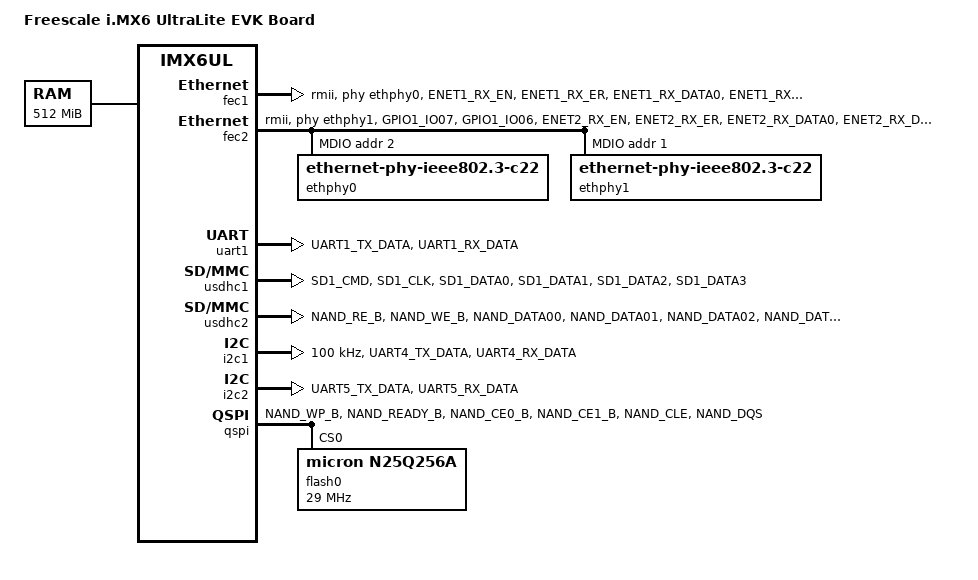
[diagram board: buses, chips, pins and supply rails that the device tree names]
/*
 * Copyright (C) 2015 Freescale Semiconductor, Inc.
 *
 * This program is free software; you can redistribute it and/or modify
 * it under the terms of the GNU General Public License version 2 as
 * published by the Free Software Foundation.
 */

/dts-v1/;

#include <dt-bindings/input/input.h>
#include "imx6ul.dtsi"

/ {
	model = "Freescale i.MX6 UltraLite EVK Board";
	compatible = "fsl,imx6ul-evk", "fsl,imx6ul";

	chosen {
		stdout-path = &uart1;
	};

	memory {
		reg = <0x80000000 0x20000000>;
	};
};

&fec1 {
	pinctrl-names = "default";
	pinctrl-0 = <&pinctrl_enet1>;
	phy-mode = "rmii";
	phy-handle = <&ethphy0>;
	status = "okay";
};

&fec2 {
	pinctrl-names = "default";
	pinctrl-0 = <&pinctrl_enet2>;
	phy-mode = "rmii";
	phy-handle = <&ethphy1>;
	status = "okay";

	mdio {
		#address-cells = <1>;
		#size-cells = <0>;

		ethphy0: ethernet-phy@2 {
			compatible = "ethernet-phy-ieee802.3-c22";
			reg = <2>;
		};

		ethphy1: ethernet-phy@1 {
			compatible = "ethernet-phy-ieee802.3-c22";
			reg = <1>;
		};
	};
};

&gpc {
	fsl,cpu_pupscr_sw2iso = <0x2>;
	fsl,cpu_pupscr_sw = <0x1>;
	fsl,cpu_pdnscr_iso2sw = <0x1>;
	fsl,cpu_pdnscr_iso = <0x1>;
	fsl,wdog-reset = <1>; /* watchdog select of reset source */
	fsl,ldo-bypass = <1>; /* use ldo-bypass, u-boot will check it and configure */
};

&uart1 {
	pinctrl-names = "default";
	pinctrl-0 = <&pinctrl_uart1>;
	status = "okay";
};

&usdhc1 {
	pinctrl-names = "default";
	pinctrl-0 = <&pinctrl_usdhc1>;
	cd_gpios = <&gpio1 19 0>;
	keep-power-in-suspend;
	enable-sdio-wakeup;
	status = "okay";
};

&usdhc2 {
	pinctrl-names = "default";
	pinctrl-0 = <&pinctrl_usdhc2>;
	no-1-8-v;
	keep-power-in-suspend;
	enable-sdio-wakeup;
	status = "okay";
};

&i2c1 {
	clock-frequency = <100000>;
	pinctrl-names = "default";
	pinctrl-0 = <&pinctrl_i2c1>;
	status = "okay";
};

&i2c2 {
	clock_frequency = <100000>;
	pinctrl-names = "default";
	pinctrl-0 = <&pinctrl_i2c2>;
	status = "okay";
};

&qspi {
	pinctrl-names = "default";
	pinctrl-0 = <&pinctrl_qspi>;
	status = "okay";
	ddrsmp=<0>;

	flash0: n25q256a@0 {
		#address-cells = <1>;
		#size-cells = <1>;
		compatible = "micron,n25q256a";
		spi-max-frequency = <29000000>;
		reg = <0>;
	};
};

&iomuxc {
	imx6ul-evk {
		pinctrl_enet1: enet1grp {
			fsl,pins = <
				MX6UL_PAD_ENET1_RX_EN__ENET1_RX_EN	0x1b0b0
				MX6UL_PAD_ENET1_RX_ER__ENET1_RX_ER	0x1b0b0
				MX6UL_PAD_ENET1_RX_DATA0__ENET1_RDATA00	0x1b0b0
				MX6UL_PAD_ENET1_RX_DATA1__ENET1_RDATA01	0x1b0b0
				MX6UL_PAD_ENET1_TX_EN__ENET1_TX_EN	0x1b0b0
				MX6UL_PAD_ENET1_TX_DATA0__ENET1_TDATA00	0x1b0b0
				MX6UL_PAD_ENET1_TX_DATA1__ENET1_TDATA01	0x1b0b0
				MX6UL_PAD_ENET1_TX_CLK__ENET1_REF_CLK1	0x4001b031
			>;
		};

		pinctrl_enet2: enet2grp {
			fsl,pins = <
				MX6UL_PAD_GPIO1_IO07__ENET2_MDC		0x1b0b0
				MX6UL_PAD_GPIO1_IO06__ENET2_MDIO	0x1b0b0
				MX6UL_PAD_ENET2_RX_EN__ENET2_RX_EN	0x1b0b0
				MX6UL_PAD_ENET2_RX_ER__ENET2_RX_ER	0x1b0b0
				MX6UL_PAD_ENET2_RX_DATA0__ENET2_RDATA00	0x1b0b0
				MX6UL_PAD_ENET2_RX_DATA1__ENET2_RDATA01	0x1b0b0
				MX6UL_PAD_ENET2_TX_EN__ENET2_TX_EN	0x1b0b0
				MX6UL_PAD_ENET2_TX_DATA0__ENET2_TDATA00	0x1b0b0
				MX6UL_PAD_ENET2_TX_DATA1__ENET2_TDATA01	0x1b0b0
				MX6UL_PAD_ENET2_TX_CLK__ENET2_REF_CLK2	0x4001b031
			>;
		};

		pinctrl_uart1: uart1grp {
			fsl,pins = <
				MX6UL_PAD_UART1_TX_DATA__UART1_DCE_TX 0x1b0b1
				MX6UL_PAD_UART1_RX_DATA__UART1_DCE_RX 0x1b0b1
			>;
		};

		pinctrl_usdhc1: usdhc1grp {
			fsl,pins = <
				MX6UL_PAD_SD1_CMD__USDHC1_CMD     0x17059
				MX6UL_PAD_SD1_CLK__USDHC1_CLK     0x10059
				MX6UL_PAD_SD1_DATA0__USDHC1_DATA0 0x17059
				MX6UL_PAD_SD1_DATA1__USDHC1_DATA1 0x17059
				MX6UL_PAD_SD1_DATA2__USDHC1_DATA2 0x17059
				MX6UL_PAD_SD1_DATA3__USDHC1_DATA3 0x17059
			>;
		};

		pinctrl_usdhc2: usdhc2grp {
			fsl,pins = <
				MX6UL_PAD_NAND_RE_B__USDHC2_CLK     0x17059
				MX6UL_PAD_NAND_WE_B__USDHC2_CMD     0x17059
				MX6UL_PAD_NAND_DATA00__USDHC2_DATA0 0x17059
				MX6UL_PAD_NAND_DATA01__USDHC2_DATA1 0x17059
				MX6UL_PAD_NAND_DATA02__USDHC2_DATA2 0x17059
				MX6UL_PAD_NAND_DATA03__USDHC2_DATA3 0x17059
			>;
		};

		pinctrl_i2c1: i2c1grp {
			fsl,pins = <
				MX6UL_PAD_UART4_TX_DATA__I2C1_SCL 0x4001b8b0
				MX6UL_PAD_UART4_RX_DATA__I2C1_SDA 0x4001b8b0
			>;
		};

		pinctrl_i2c2: i2c2grp {
			fsl,pins = <
				MX6UL_PAD_UART5_TX_DATA__I2C2_SCL 0x4001b8b0
				MX6UL_PAD_UART5_RX_DATA__I2C2_SDA 0x4001b8b0
			>;
		};

		pinctrl_qspi: qspigrp {
			fsl,pins = <
				MX6UL_PAD_NAND_WP_B__QSPI_A_SCLK      0x70a1
				MX6UL_PAD_NAND_READY_B__QSPI_A_DATA00 0x70a1
				MX6UL_PAD_NAND_CE0_B__QSPI_A_DATA01   0x70a1
				MX6UL_PAD_NAND_CE1_B__QSPI_A_DATA02   0x70a1
				MX6UL_PAD_NAND_CLE__QSPI_A_DATA03     0x70a1
				MX6UL_PAD_NAND_DQS__QSPI_A_SS0_B      0x70a1
			>;
		};
	};
};
